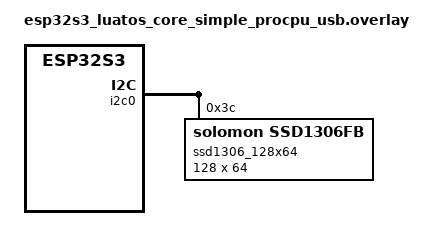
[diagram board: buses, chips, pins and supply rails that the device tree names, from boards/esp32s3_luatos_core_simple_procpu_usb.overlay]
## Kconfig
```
# Copyright (c) 2021 Nordic Semiconductor ASA
# SPDX-License-Identifier: Apache-2.0
#
# This file is the application Kconfig entry point. All application Kconfig
# options can be defined here or included via other application Kconfig files.
# You can browse these options using the west targets menuconfig (terminal) or
# guiconfig (GUI).

menu "Zephyr"
source "Kconfig.zephyr"

config RESET_COUNTER_SW0
    bool "Use sw0 to reset counter"
    default y
    help
        Use sw0 to reset counter

endmenu

module = APP
module-str = APP
source "subsys/logging/Kconfig.template.log_config"
```

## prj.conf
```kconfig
# Copyright (c) 2021 Nordic Semiconductor ASA
# SPDX-License-Identifier: Apache-2.0
#
# This file contains selected Kconfig options for the application.

CONFIG_PRINTK=y
CONFIG_GPIO=y

CONFIG_LOG=y
CONFIG_APP_LOG_LEVEL_DBG=y

CONFIG_MAIN_STACK_SIZE=4096

CONFIG_DISPLAY=y
CONFIG_SSD1306=y

CONFIG_SHELL=y

CONFIG_LV_Z_MEM_POOL_SIZE=16384
CONFIG_LV_Z_SHELL=y

CONFIG_LVGL=y
CONFIG_LV_USE_LOG=y
CONFIG_LV_USE_LABEL=y
CONFIG_LV_USE_ARC=y
CONFIG_LV_USE_MONKEY=y
CONFIG_LV_FONT_MONTSERRAT_14=y
```

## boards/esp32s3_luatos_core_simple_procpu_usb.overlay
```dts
/*
 * SPDX-License-Identifier: Apache-2.0
 */

#include <zephyr/dt-bindings/pwm/pwm.h>

/ {
	chosen {
		zephyr,display = &ssd1306_128x64;
	};

	aliases {
		sw0 = &button0;
	};
};

&i2c0 {
	status = "okay";
	pinctrl-0=<&i2c0_default>;
	pinctrl-names = "default";

	ssd1306_128x64: ssd1306@3c {
		compatible = "solomon,ssd1306fb";
		reg = <0x3c>;
		width = <128>;
		height = <64>;
		segment-offset = <0>;
		page-offset = <0>;
		display-offset = <0>;
		multiplex-ratio = <63>;
		segment-remap;
		com-invdir;
		prechargep = <0x22>;
		inversion-on;
	};
};
```

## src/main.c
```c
/*
 * Copyright (c) 2018 Jan Van Winkel <jan.van_winkel@dxplore.eu>
 *
 * SPDX-License-Identifier: Apache-2.0
 */

#include <zephyr/device.h>
#include <zephyr/devicetree.h>
#include <zephyr/drivers/display.h>
#include <zephyr/drivers/gpio.h>
#include <lvgl.h>
#include <stdio.h>
#include <string.h>
#include <zephyr/kernel.h>
#include <lvgl_input_device.h>
#include "lvgl_zephyr.h"

#include <zephyr/logging/log.h>
LOG_MODULE_REGISTER(app, CONFIG_APP_LOG_LEVEL);

static uint32_t count;

#ifdef CONFIG_RESET_COUNTER_SW0
static struct gpio_dt_spec button_gpio = GPIO_DT_SPEC_GET_OR(
    DT_ALIAS(sw0), gpios, {0});
static struct gpio_callback button_callback;

static void button_isr_callback(const struct device *port,
                                struct gpio_callback *cb,
                                uint32_t pins) {
    ARG_UNUSED(port);
    ARG_UNUSED(cb);
    ARG_UNUSED(pins);

    count = 0;
}
#endif /* CONFIG_RESET_COUNTER_SW0 */

#ifdef CONFIG_LV_Z_ENCODER_INPUT
static const struct device *lvgl_encoder =
        DEVICE_DT_GET(DT_COMPAT_GET_ANY_STATUS_OKAY(zephyr_lvgl_encoder_input));
#endif /* CONFIG_LV_Z_ENCODER_INPUT */

#ifdef CONFIG_LV_Z_KEYPAD_INPUT
static const struct device *lvgl_keypad =
        DEVICE_DT_GET(DT_COMPAT_GET_ANY_STATUS_OKAY(zephyr_lvgl_keypad_input));
#endif /* CONFIG_LV_Z_KEYPAD_INPUT */

static void lv_btn_click_callback(lv_event_t *e) {
    ARG_UNUSED(e);

    count = 0;
}

int main(void) {
    char count_str[11] = {0};
    const struct device *display_dev;
    lv_obj_t *hello_world_label;
    lv_obj_t *count_label;

    display_dev = DEVICE_DT_GET(DT_CHOSEN(zephyr_display));
    if (!device_is_ready(display_dev)) {
        LOG_ERR("Device not ready, aborting test");
        return 0;
    }

#ifdef CONFIG_RESET_COUNTER_SW0
    if (gpio_is_ready_dt(&button_gpio)) {
        int err;

        err = gpio_pin_configure_dt(&button_gpio, GPIO_INPUT);
        if (err) {
            LOG_ERR("failed to configure button gpio: %d", err);
            return 0;
        }

        gpio_init_callback(&button_callback, button_isr_callback,
                           BIT(button_gpio.pin));

        err = gpio_add_callback(button_gpio.port, &button_callback);
        if (err) {
            LOG_ERR("failed to add button callback: %d", err);
            return 0;
        }

        err = gpio_pin_interrupt_configure_dt(&button_gpio,
                                              GPIO_INT_EDGE_TO_ACTIVE);
        if (err) {
            LOG_ERR("failed to enable button callback: %d", err);
            return 0;
        }
    }
#endif /* CONFIG_RESET_COUNTER_SW0 */

#ifdef CONFIG_LV_Z_ENCODER_INPUT
    lv_obj_t *arc;
    lv_group_t *arc_group;

    arc = lv_arc_create(lv_screen_active());
    lv_obj_align(arc, LV_ALIGN_CENTER, 0, -15);
    lv_obj_set_size(arc, 150, 150);

    arc_group = lv_group_create();
    lv_group_add_obj(arc_group, arc);
    lv_indev_set_group(lvgl_input_get_indev(lvgl_encoder), arc_group);
#endif /* CONFIG_LV_Z_ENCODER_INPUT */

#ifdef CONFIG_LV_Z_KEYPAD_INPUT
    lv_obj_t *btn_matrix;
    lv_group_t *btn_matrix_group;
    static const char *const btnm_map[] = {"1", "2", "3", "4", ""};

    btn_matrix = lv_buttonmatrix_create(lv_screen_active());
    lv_obj_align(btn_matrix, LV_ALIGN_CENTER, 0, 70);
    lv_buttonmatrix_set_map(btn_matrix, (const char **) btnm_map);
    lv_obj_set_size(btn_matrix, 100, 50);

    btn_matrix_group = lv_group_create();
    lv_group_add_obj(btn_matrix_group, btn_matrix);
    lv_indev_set_group(lvgl_input_get_indev(lvgl_keypad), btn_matrix_group);
#endif /* CONFIG_LV_Z_KEYPAD_INPUT */

    if (IS_ENABLED(CONFIG_LV_Z_POINTER_INPUT)) {
        lv_obj_t *hello_world_button;

        hello_world_button = lv_button_create(lv_screen_active());
        lv_obj_align(hello_world_button, LV_ALIGN_CENTER, 0, -15);
        lv_obj_add_event_cb(hello_world_button, lv_btn_click_callback, LV_EVENT_CLICKED,
                            NULL);
        hello_world_label = lv_label_create(hello_world_button);
    } else {
        hello_world_label = lv_label_create(lv_screen_active());
    }

    lv_label_set_text(hello_world_label, "Hello world!");
    lv_obj_align(hello_world_label, LV_ALIGN_CENTER, 0, 0);

    count_label = lv_label_create(lv_screen_active());
    lv_obj_align(count_label, LV_ALIGN_BOTTOM_MID, 0, 0);

    LOG_INF("App started");

    lv_timer_handler();
    display_blanking_off(display_dev);


    while (1) {
        if ((count % 100) == 0U) {
            sprintf(count_str, "%d", count / 100U);
            lv_label_set_text(count_label, count_str);
        }
        lv_timer_handler();
        ++count;
        k_sleep(K_MSEC(10));
    }
}
```
